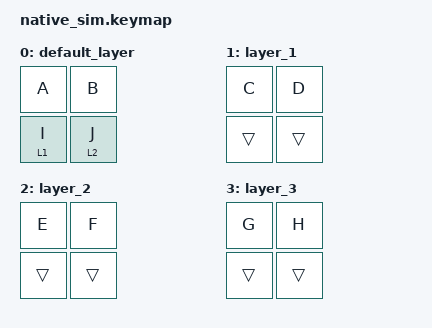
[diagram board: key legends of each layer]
#include <behaviors.dtsi>
#include <dt-bindings/zmk/keys.h>
#include <dt-bindings/zmk/input_mock.h>

&lt {
    flavor = "balanced";
};

/ {
    conditional_layers {
        compatible = "zmk,conditional-layers";
        tri_layer {
            if-layers = <1 2>;
            then-layer = <3>;
        };
    };

    keymap {
        compatible = "zmk,keymap";
        default_layer {
            bindings = <
                &kp A &kp B
                &lt 1 I &lt 2 J
            >;
        };
        layer_1 {
            bindings = <
                &kp C &kp D
                &trans &trans
            >;
        };
        layer_2 {
            bindings = <
                &kp E &kp F
                &trans &trans
            >;
        };
        layer_3 {
            bindings = <
                &kp G &kp H
                &trans &trans
            >;
        };
    };
};

&mock_input {
    events = <
        ZMK_INPUT_MOCK_PRESS(1,0,10)
        ZMK_INPUT_MOCK_PRESS(1,1,10)
        ZMK_INPUT_MOCK_PRESS(0,0,10)
        ZMK_INPUT_MOCK_RELEASE(0,0,10)
        ZMK_INPUT_MOCK_RELEASE(1,1,10)
        ZMK_INPUT_MOCK_RELEASE(1,0,10)
    >;
};
